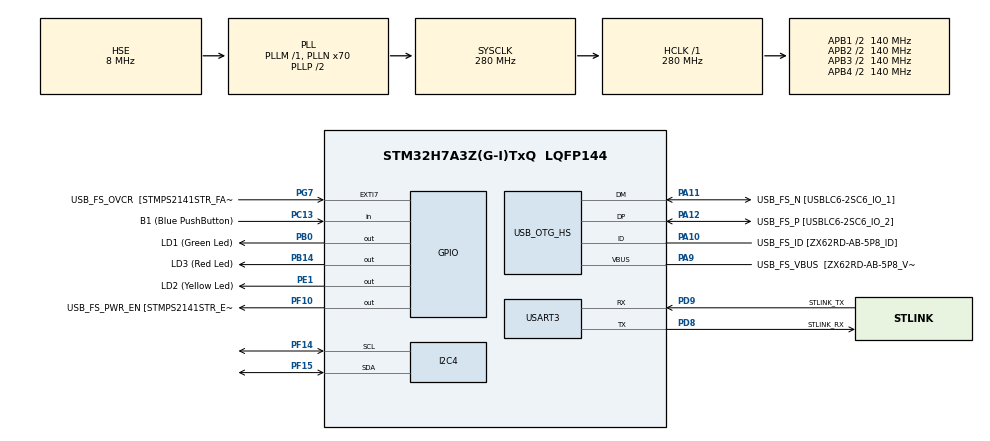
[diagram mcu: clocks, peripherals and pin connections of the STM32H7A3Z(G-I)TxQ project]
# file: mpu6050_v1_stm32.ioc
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I2C4.Timing=0x20B0CCFF
Mcu.Family=STM32H7
Mcu.Name=STM32H7A3Z(G-I)TxQ
Mcu.Package=LQFP144
NVIC.I2C4_ER_IRQn=true\:0\:0\:false\:false\:true\:true\:true\:true
NVIC.I2C4_EV_IRQn=true\:0\:0\:false\:false\:true\:true\:true\:true
NVIC.PriorityGroup=NVIC_PRIORITYGROUP_4
NVIC.USART3_IRQn=true\:0\:0\:false\:false\:true\:true\:true\:true
PA10.GPIO_Label=USB_FS_ID [ZX62RD-AB-5P8_ID]
PA10.Mode=OTG/Dual-Role-Device-FS
PA10.Signal=USB_OTG_HS_ID
PA11.GPIO_Label=USB_FS_N [USBLC6-2SC6_IO_1]
PA11.Mode=OTG/Dual-Role-Device-FS
PA11.Signal=USB_OTG_HS_DM
PA12.GPIO_Label=USB_FS_P [USBLC6-2SC6_IO_2]
PA12.Mode=OTG/Dual-Role-Device-FS
PA12.Signal=USB_OTG_HS_DP
PA9.GPIO_Label=USB_FS_VBUS  [ZX62RD-AB-5P8_VBUS]
PA9.Mode=Activate_VBUS_FS
PA9.Signal=USB_OTG_HS_VBUS
PB0.GPIO_Label=LD1 (Green Led)
PB0.Signal=GPIO_Output
PB14.GPIO_Label=LD3 (Red Led)
PB14.Signal=GPIO_Output
PC13.GPIO_Label=B1 (Blue PushButton)
PC13.Signal=GPIO_Input
PC14-OSC32_IN.GPIO_Label=OSC32_IN
PC14-OSC32_IN.Mode=LSE-External-Oscillator
PC14-OSC32_IN.Signal=RCC_OSC32_IN
PC15-OSC32_OUT.GPIO_Label=OSC32_OUT
PC15-OSC32_OUT.Mode=LSE-External-Oscillator
PC15-OSC32_OUT.Signal=RCC_OSC32_OUT
PD8.GPIO_Label=STLINK_RX
PD8.Mode=Asynchronous
PD8.Signal=USART3_TX
PD9.GPIO_Label=STLINK_TX
PD9.Mode=Asynchronous
PD9.Signal=USART3_RX
PE1.GPIO_Label=LD2 (Yellow Led)
PE1.Signal=GPIO_Output
PF10.GPIO_Label=USB_FS_PWR_EN [STMPS2141STR_EN]
PF10.Signal=GPIO_Output
PF14.Mode=I2C
PF14.Signal=I2C4_SCL
PF15.Mode=I2C
PF15.Signal=I2C4_SDA
PG7.GPIO_Label=USB_FS_OVCR  [STMPS2141STR_FAULT]
PG7.Signal=GPXTI7
PH0-OSC_IN.GPIO_Label=PH0-MCU
PH0-OSC_IN.Mode=HSE-External-Clock-Source
PH0-OSC_IN.Signal=RCC_OSC_IN
PH1-OSC_OUT.GPIO_Label=PH1-MCU
PH1-OSC_OUT.Signal=RCC_OSC_OUT
ProjectManager.HeapSize=0x200
ProjectManager.StackSize=0x400
ProjectManager.TargetToolchain=STM32CubeIDE
RCC.ADCFreq_Value=16125000
RCC.APB1Freq_Value=140000000
RCC.APB2Freq_Value=140000000
RCC.APB3Freq_Value=140000000
RCC.APB4Freq_Value=140000000
RCC.CDPPRE=RCC_APB3_DIV2
RCC.CDPPRE1=RCC_APB1_DIV2
RCC.CDPPRE2=RCC_APB2_DIV2
RCC.CortexFreq_Value=280000000
RCC.DIVM1=1
RCC.DIVM3=1
RCC.DIVN1=70
RCC.DIVN3=24
RCC.DIVQ1=4
RCC.HCLKFreq_Value=280000000
RCC.HSE_VALUE=8000000
RCC.PLLFRACN=0
RCC.PLLSourceVirtual=RCC_PLLSOURCE_HSE
RCC.PWR_Regulator_Voltage_Scale=PWR_REGULATOR_VOLTAGE_SCALE0
RCC.SRDPPRE=RCC_APB4_DIV2
RCC.SYSCLKFreq_VALUE=280000000
RCC.SYSCLKSource=RCC_SYSCLKSOURCE_PLLCLK
RCC.SupplySource=PWR_DIRECT_SMPS_SUPPLY
RCC.USBCLockSelection=RCC_USBCLKSOURCE_HSI48
RCC.USBFreq_Value=48000000
USART3.VirtualMode-Asynchronous=VM_ASYNC
board=NUCLEO-H7A3ZI-Q

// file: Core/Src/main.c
/* USER CODE BEGIN Header */
/**
  ******************************************************************************
  * @file           : main.c
  * @brief          : Main program body
  ******************************************************************************
  * @attention
  *
  * Copyright (c) 2023 STMicroelectronics.
  * All rights reserved.
  *
  * This software is licensed under terms that can be found in the LICENSE file
  * in the root directory of this software component.
  * If no LICENSE file comes with this software, it is provided AS-IS.
  *
  ******************************************************************************
  */
/* USER CODE END Header */
#include "main.h"

/* USER CODE BEGIN PD */
#define TIMEOUT_DEFAULT 1000
// #define I2C_MEMADD_SIZE_8BIT 1

// Linear acceleration registers
#define ACCEL_XOUT_H 0x3B
#define ACCEL_XOUT_L 0x3C
#define ACCEL_YOUT_H 0x3D
#define ACCEL_YOUT_L 0x3E
#define ACCEL_ZOUT_H 0x3F
#define ACCEL_ZOUT_L 0x40

//Angular acceleration registers
#define GYRO_XOUT_H 0x43
#define GYRO_XOUT_L 0x44
#define GYRO_YOUT_H 0x45
#define GYRO_YOUT_L 0x46
#define GYRO_ZOUT_H 0x47
#define GYRO_ZOUT_L 0x48

//Temperature registers
#define TEMP_OUT_H    0x41
#define TEMP_OUT_L    0x42

#define WHO_AM_I		  0x75
#define MPU_ADDR     (0x68 << 1) // Datasheet says 0x68; left shift by 1 due to 7-bit addressing

#define PWR_MGMT_1		0x6B
#define SMPLRT_DIV		0x19 // Sample rate divider. Sample rate = GyroscopeOutputRate/(1 + SMPLRT_DIV)
                    		 // GyroscopeOutputRate = 8kHz if DLPF_CFG = 0 or 7 | 1kHz if DLPF_CFG is 1 to 6
#define CONFIG			  0x1A
#define GYRO_CONFIG		0x1B
#define ACCEL_CONFIG	0x1C
#define INT_ENABLE		0x38
#define DLPF          0x1A

#define FIFO_EN       0x23
#define USER_CTRL     0x6A

#define FIFO_COUNT_H  0x72
#define FIFO_COUNT_L  0x73
#define FIFO_R_W      0x74

#define FIFO_BRST_LEN 0x06
/* USER CODE END PD */

I2C_HandleTypeDef hi2c4;

UART_HandleTypeDef huart3;

/* USER CODE BEGIN PV */
// Define any structs here:

typedef enum {
  GYRO_FSR_250  = 0,
  GYRO_FSR_500  = 1,
  GYRO_FSR_1000 = 2,
  GYRO_FSR_2000 = 3
} Gyro_FSR_SEL_TypeDef;

typedef enum {
  ACCEL_FSR_2g  = 0,
  ACCEL_FSR_4g  = 1,
  ACCEL_FSR_8g  = 2,
  ACCEL_FSR_16g = 3
} Accel_FSR_SEL_TypeDef;

typedef struct MPU6050 {
  // Info used for I2C communication
  I2C_HandleTypeDef* i2c_handle;
  uint8_t MPU6050_addr;

  // Configuration information
  uint8_t gyro_smplrt; // 8kHz or 1kHz dependi ng on DLPF_CFG
  uint8_t dlpf;
  Gyro_FSR_SEL_TypeDef gyro_FSR; // Explicit number of the FSR (eg: 250 deg/s)
  Accel_FSR_SEL_TypeDef accel_FSR; // Just the coefficient (eg: accel_FSR = 2 means 2g = 2 x 9.8)

  // Actual data stored away
  float ax, ay, az; // 16 bit integer
  float gx, gy, gz; // 16 bit integer with 3 entries for x, y and z rotational velocities
  float temp; // 16 bit integer
} MPU6050;

/* USER CODE END PV */

void SystemClock_Config(void);
static void MX_GPIO_Init(void);
static void MX_USART3_UART_Init(void);
static void MX_I2C4_Init(void);
static void MX_USB_OTG_HS_USB_Init(void);

/* USER CODE BEGIN 0 */

HAL_StatusTypeDef MPU6050_readRegister(MPU6050* mpu6050, uint8_t reg, uint8_t* data) {
  /*
  Reads 1 byte from the specified register using I2C configuration from the MPU6050 instance
  Info is stored away into the data array
  */
  // HAL_StatusTypeDef result = HAL_I2C_Mem_Read_DMA(mpu6050->i2c_handle, mpu6050->MPU6050_addr, reg, I2C_MEMADD_SIZE_8BIT, data, (uint16_t) 1);
  // HAL_StatusTypeDef result = HAL_I2C_Mem_Read_IT(mpu6050->i2c_handle, mpu6050->MPU6050_addr, reg, I2C_MEMADD_SIZE_8BIT, data, (uint16_t) 1);
  HAL_StatusTypeDef result = HAL_I2C_Mem_Read(mpu6050->i2c_handle, mpu6050->MPU6050_addr, reg, I2C_MEMADD_SIZE_8BIT, data, (uint16_t) 1, HAL_MAX_DELAY);
  return result;
}

HAL_StatusTypeDef MPU6050_writeRegister(MPU6050* mpu6050, uint8_t reg, uint8_t* data) {
  /*
  Writes 1 byte from the data array into the specified register reg using I2C configuration from the MPU6050 instance
  */
  // HAL_StatusTypeDef result = HAL_I2C_Mem_Write_DMA(mpu6050->i2c_handle, mpu6050->MPU6050_addr, reg, I2C_MEMADD_SIZE_8BIT, data, (uint16_t) 1);
  // HAL_StatusTypeDef result = HAL_I2C_Mem_Write_IT(mpu6050->i2c_handle, mpu6050->MPU6050_addr, reg, I2C_MEMADD_SIZE_8BIT, data, (uint16_t) 1);
  HAL_StatusTypeDef result = HAL_I2C_Mem_Write(mpu6050->i2c_handle, mpu6050->MPU6050_addr, reg, I2C_MEMADD_SIZE_8BIT, data, (uint16_t) 1, HAL_MAX_DELAY);
  return HAL_OK;
}

HAL_StatusTypeDef MPU6050_readRegisters(MPU6050* mpu6050, uint8_t reg, uint8_t* data, uint8_t length) {
  /*
  Reads 1 byte from the specified register using I2C configuration from the MPU6050 instance
  Info is stored away into the data array
  */
  // NOTE: Length is the number of bytes we wanna read from the register -> 1 means read that register. 2 would mean reading this register then the next one
  // HAL_StatusTypeDef result = HAL_I2C_Mem_Read_DMA(mpu6050->i2c_handle, mpu6050->MPU6050_addr, reg, I2C_MEMADD_SIZE_8BIT, data, (uint16_t) length);
  // HAL_StatusTypeDef result = HAL_I2C_Mem_Read_IT(mpu6050->i2c_handle, mpu6050->MPU6050_addr, reg, I2C_MEMADD_SIZE_8BIT, data, (uint16_t) length);
  HAL_StatusTypeDef result = HAL_I2C_Mem_Read(mpu6050->i2c_handle, mpu6050->MPU6050_addr, reg, I2C_MEMADD_SIZE_8BIT, data, (uint16_t) length, HAL_MAX_DELAY);
  return HAL_OK;
}

HAL_StatusTypeDef MPU6050_wakeup(MPU6050* mpu6050) {
  // Write 0's to the PWR_MGMT_1 register to wake it up
  // It sets clock source as internal 8MHz clock, and it is woken up
  // uint8_t zero = 0;
  // HAL_StatusTypeDef res = HAL_I2C_Mem_Write(&hi2c4, MPU_ADDR, PWR_MGMT_1, I2C_MEMADD_SIZE_8BIT, &zero, sizeof(zero), TIMEOUT_DEFAULT);

  HAL_StatusTypeDef res = MPU6050_writeRegister(mpu6050, PWR_MGMT_1, 0);
  return res;
}

HAL_StatusTypeDef MPU6050_set_pwr_mgmt(MPU6050* mpu6050, int dev_rst, int sleep, int cycle, int temp_dis, int clksel) {
  // Assumption is that the first 4 inputs are 1 bit (0 or 1), and clksel is 3 bit (0 to 7)
  assert(dev_rst >= 0 && dev_rst <= 1);
  assert(sleep >= 0 && sleep <= 1);
  assert(cycle >= 0 && cycle <= 1);
  assert(temp_dis >= 0 && temp_dis <= 1);
  assert(clksel >= 0 && clksel <= 7);

  // Create bit string to put into the register
  uint8_t res =  0 | (dev_rst << 7) | (sleep << 6) | (cycle << 5) | (temp_dis << 3) | clksel;

  // Write to the register over I2C
  // HAL_StatusTypeDef result = HAL_I2C_Mem_Write(&hi2c4, MPU_ADDR, PWR_MGMT_1, I2C_MEMADD_SIZE_8BIT, &res, sizeof(res), TIMEOUT_DEFAULT);
  HAL_StatusTypeDef result = MPU6050_writeRegister(mpu6050, PWR_MGMT_1, &res);

  return result;
}

HAL_StatusTypeDef MPU6050_set_dlpf(uint8_t* dlpf, MPU6050* mpu6050) {
  /*
  Just set DLPF_CFG = 001 (so register )
  */

  // Ensure that dlpf is a number between 0 and 7
  assert((*dlpf >= 0) && (*dlpf <= 7));
  // assert(*dlpf >= 0);
  // assert(*dlpf <= 7);

  // HAL_StatusTypeDef result = HAL_I2C_Mem_Write(&hi2c4, MPU_ADDR, DLPF, I2C_MEMADD_SIZE_8BIT, dlpf, sizeof(*dlpf), TIMEOUT_DEFAULT);
  HAL_StatusTypeDef result = MPU6050_writeRegister(mpu6050, PWR_MGMT_1, dlpf);

  // Store the dlpf number in the struct
  mpu6050->dlpf = *dlpf;
  return result;
}

// REVIEW - Maths behind the smplrt_div_input may not be good due to division.
HAL_StatusTypeDef MPU6050_set_sample_rate(uint8_t* freq_ptr, MPU6050* mpu6050) {
  /*
  When DLPF_CFG = 0 or 7, gyro output rate = 8kHz
    otherwise, gyro output rate = 1kHz

   Accelerometer sample rate is fixed at 1kHz always

  freq_ptr is a pointer to the sample rate freq in kHz as uint8

  We need to calculate what needs to go into the SMPLRT_DIV register to get the desired frequency
  This also assumes that the gyro output rate is at 1kHz
  */

  uint8_t smplrt_div_input = (mpu6050->gyro_smplrt)/(*freq_ptr) - 1;

  // HAL_StatusTypeDef result = HAL_I2C_Mem_Write(&hi2c4, MPU_ADDR, SMPLRT_DIV, I2C_MEMADD_SIZE_8BIT, &smplrt_div_input, sizeof(smplrt_div_input), TIMEOUT_DEFAULT);
  HAL_StatusTypeDef result = MPU6050_writeRegister(mpu6050, SMPLRT_DIV, &smplrt_div_input);

  // Store the new sample rate divider in the struct
  mpu6050->gyro_smplrt = *freq_ptr;
  return result;
}

// REVIEW - Consider writing it so that we pull the current data in the register, AND it with 1110 0111, then OR it with (number << 3) so that we keep self-test
HAL_StatusTypeDef MPU6050_set_gyro_FSR(Gyro_FSR_SEL_TypeDef setting, MPU6050* mpu6050) {
  uint8_t pData;

  switch (setting) {
    // For each possibility, set the correct data to be written and store the setting away
    // Left shift data bits by 3 so that we only overwrite bits 4 and 3
    case GYRO_FSR_250:
      pData = (0 << 3);
      mpu6050->gyro_FSR = GYRO_FSR_250;
      break;
    case GYRO_FSR_500:
      pData = (1 << 3);
      mpu6050->gyro_FSR = GYRO_FSR_500;
      break;
    case GYRO_FSR_1000:
      pData = (2 << 3);
      mpu6050->gyro_FSR = GYRO_FSR_1000;
      break;
    case GYRO_FSR_2000:
      pData = (3 << 3);
      mpu6050->gyro_FSR = GYRO_FSR_2000;
      break;
  }

  // HAL_StatusTypeDef result = HAL_I2C_Mem_Write(&hi2c4, MPU_ADDR, GYRO_CONFIG, I2C_MEMADD_SIZE_8BIT, &pData, sizeof(pData), TIMEOUT_DEFAULT);
  HAL_StatusTypeDef result = MPU6050_writeRegister(mpu6050, GYRO_CONFIG, &pData);

  return result;
}

// REVIEW - Consider writing it so that we pull the current data in the register, AND it with 1110 0111, then OR it with (number << 3) so that we keep self-test
HAL_StatusTypeDef MPU6050_set_accel_FSR(Accel_FSR_SEL_TypeDef setting, MPU6050* mpu6050) {
  uint8_t pData;

  switch (setting) {
    case ACCEL_FSR_2g:
      pData = (0 << 3);
      mpu6050->accel_FSR = ACCEL_FSR_2g;
      break;
    case ACCEL_FSR_4g:
      pData = (1 << 3);
      mpu6050->accel_FSR = ACCEL_FSR_4g;
      break;
    case ACCEL_FSR_8g:
      pData = (2 << 3);
      mpu6050->accel_FSR = ACCEL_FSR_8g;
      break;
    case ACCEL_FSR_16g:
      pData = (3 << 3);
      mpu6050->accel_FSR = ACCEL_FSR_16g;
      break;
  }

  // HAL_StatusTypeDef result = HAL_I2C_Mem_Write(&hi2c4, MPU_ADDR, ACCEL_CONFIG, I2C_MEMADD_SIZE_8BIT, &pData, sizeof(pData), TIMEOUT_DEFAULT);
  HAL_StatusTypeDef result = MPU6050_writeRegister(mpu6050, ACCEL_CONFIG, &pData);

  return result;
}

HAL_StatusTypeDef MPU6050_FIFO_enable(MPU6050* mpu6050) {
  // Write a 1 to bit 6 of register 0x6A
  uint8_t res = (1 << 6);

  // HAL_StatusTypeDef result = HAL_I2C_Mem_Write(&hi2c4, MPU_ADDR, USER_CTRL, I2C_MEMADD_SIZE_8BIT, &res, sizeof(res), TIMEOUT_DEFAULT);
  HAL_StatusTypeDef result = MPU6050_writeRegister(mpu6050, USER_CTRL, &res);
  return result;
}

HAL_StatusTypeDef MPU6050_FIFO_reset(MPU6050* mpu6050) {
  // Assumes that MPU6050 FIFO buffer is enabled. FIFO enable bit is driven low ONLY when MPU is power cycled (turned off and back on)
  // Write a 2 to bit 2 of register 0x6A -> this gets written to 0 once FIFO is reset anyway
  uint8_t res = (1 << 2);

  // HAL_StatusTypeDef result = HAL_I2C_Mem_Write(&hi2c4, MPU_ADDR, USER_CTRL, I2C_MEMADD_SIZE_8BIT, &res, sizeof(res), TIMEOUT_DEFAULT);
  HAL_StatusTypeDef result = MPU6050_writeRegister(mpu6050, USER_CTRL, &res);

  return result;
}

HAL_StatusTypeDef MPU6050_init(MPU6050* mpu6050_ptr, uint8_t* dlpf, uint8_t* smpl_frq, Gyro_FSR_SEL_TypeDef gyro_setting, Accel_FSR_SEL_TypeDef accel_setting) {
  // Check that we have the correct device by checking its address
  uint8_t check = 0;
  // uint8_t check[4];
  // HAL_StatusTypeDef result = HAL_I2C_Mem_Write(&hi2c4, MPU_ADDR, WHO_AM_I, I2C_MEMADD_SIZE_8BIT, &check, sizeof(check), TIMEOUT_DEFAULT);
  // HAL_StatusTypeDef result = HAL_I2C_Mem_Read(&hi2c4, MPU_ADDR, WHO_AM_I, I2C_MEMADD_SIZE_8BIT, &check, sizeof(check), TIMEOUT_DEFAULT);
  HAL_StatusTypeDef result = MPU6050_readRegister(mpu6050_ptr, WHO_AM_I, &check);
  // HAL_StatusTypeDef result = HAL_I2C_Mem_Read(&hi2c4, MPU_ADDR, WHO_AM_I, 1, check, 1, 1000);

  if (result == HAL_OK && check == 0x68) { //check == 0x68
    // Device is identified as the MPU6050 yay -> Wake it up
    MPU6050_wakeup(mpu6050_ptr);

    // Configure DLPF_CFG and store away settings
    MPU6050_set_dlpf(dlpf, mpu6050_ptr);

    // Configure the gyro sample rate and store away settings
    MPU6050_set_sample_rate(smpl_frq, mpu6050_ptr);

    // Set the full scale range for the gyroscope and accelerometer
    MPU6050_set_gyro_FSR(gyro_setting, mpu6050_ptr);
    MPU6050_set_accel_FSR(accel_setting, mpu6050_ptr);
  }

  return result;
}

HAL_StatusTypeDef MPU6050_read_gyro_reg(MPU6050* mpu6050) {
  // Initialise temporary variables
  int16_t gx_raw = 0;
  int16_t gy_raw = 0;
  int16_t gz_raw = 0;

  uint8_t num_of_bytes = 6;
  int8_t g_raw[num_of_bytes];

  // Read X gyro registers and store the raw gyroscope value away
  // HAL_StatusTypeDef result = HAL_I2C_Mem_Read(&hi2c4, MPU_ADDR, GYRO_XOUT_H, I2C_MEMADD_SIZE_8BIT, &g_raw_H, sizeof(g_raw_H), TIMEOUT_DEFAULT);

  // Read all gyroscope registers starting from GYRO_XOUT_H and ending at GYRO_ZOUT_L
  HAL_StatusTypeDef result = MPU6050_readRegisters(mpu6050, GYRO_XOUT_H, g_raw, num_of_bytes);

  // Get the raw x, y and z values
  gx_raw = (g_raw[0] << 8) | (g_raw[1]);
  gy_raw = (g_raw[2] << 8) | (g_raw[3]);
  gz_raw = (g_raw[4] << 8) | (g_raw[5]);

  // result = HAL_I2C_Mem_Read(&hi2c4, MPU_ADDR, GYRO_XOUT_L, I2C_MEMADD_SIZE_8BIT, &g_raw_L, sizeof(g_raw_L), TIMEOUT_DEFAULT);
  // gx_raw = (g_raw[0] << 8) | (g_raw[1]);

  // Read Y gyro registers and store the raw gyroscope value away
  // result = HAL_I2C_Mem_Read(&hi2c4, MPU_ADDR, GYRO_YOUT_H, I2C_MEMADD_SIZE_8BIT, &g_raw_H, sizeof(g_raw_H), TIMEOUT_DEFAULT);
  // result = HAL_I2C_Mem_Read(&hi2c4, MPU_ADDR, GYRO_YOUT_L, I2C_MEMADD_SIZE_8BIT, &g_raw_L, sizeof(g_raw_L), TIMEOUT_DEFAULT);
  // gy_raw = (g_raw[2] << 8) | (g_raw[3]);

  // Read Z gyro registers and store the raw gyroscope value away
  // result = HAL_I2C_Mem_Read(&hi2c4, MPU_ADDR, GYRO_ZOUT_H, I2C_MEMADD_SIZE_8BIT, &g_raw_H, sizeof(g_raw_H), TIMEOUT_DEFAULT);
  // result = HAL_I2C_Mem_Read(&hi2c4, MPU_ADDR, GYRO_ZOUT_L, I2C_MEMADD_SIZE_8BIT, &g_raw_L, sizeof(g_raw_L), TIMEOUT_DEFAULT);
  // gz_raw = (g_raw[4] << 8) | (g_raw[5]);

  // Rescale raw readings according to gyro FSR
  switch(mpu6050->gyro_FSR) {
    case GYRO_FSR_250:
      mpu6050->gx = ((float) gx_raw) / 131.0;
      mpu6050->gy = ((float) gy_raw) / 131.0;
      mpu6050->gz = ((float) gz_raw) / 131.0;
      break;
    case GYRO_FSR_500:
      mpu6050->gx = ((float) gx_raw) / 65.5;
      mpu6050->gy = ((float) gy_raw) / 65.5;
      mpu6050->gz = ((float) gz_raw) / 65.5;
      break;
    case GYRO_FSR_1000:
      mpu6050->gx = ((float) gx_raw) / 32.8;
      mpu6050->gy = ((float) gy_raw) / 32.8;
      mpu6050->gz = ((float) gz_raw) / 32.8;
      break;
    case GYRO_FSR_2000:
      mpu6050->gx = ((float) gx_raw) / 16.4;
      mpu6050->gy = ((float) gy_raw) / 16.4;
      mpu6050->gz = ((float) gz_raw) / 16.4;
      break;
  }

  return result;
}

HAL_StatusTypeDef MPU6050_read_accel_reg(MPU6050* mpu6050) {
  // Initialise temporary variables
  int16_t ax_raw = 0;
  int16_t ay_raw = 0;
  int16_t az_raw = 0;

  uint8_t num_of_bytes = 6;
  int8_t a_raw[num_of_bytes];

  // Read all gyroscope registers starting from GYRO_XOUT_H and ending at GYRO_ZOUT_L
  HAL_StatusTypeDef result = MPU6050_readRegisters(mpu6050, ACCEL_XOUT_H, a_raw, num_of_bytes);

  // Get the raw x, y and z values
  ax_raw = (a_raw[0] << 8) | (a_raw[1]);
  ay_raw = (a_raw[2] << 8) | (a_raw[3]);
  az_raw = (a_raw[4] << 8) | (a_raw[5]);

  // // Read X accel registers and store the raw acceleration value away
  // HAL_StatusTypeDef result = HAL_I2C_Mem_Read(&hi2c4, MPU_ADDR, ACCEL_XOUT_H, I2C_MEMADD_SIZE_8BIT, &a_raw_H, sizeof(a_raw_H), TIMEOUT_DEFAULT);
  // result = HAL_I2C_Mem_Read(&hi2c4, MPU_ADDR, ACCEL_XOUT_L, I2C_MEMADD_SIZE_8BIT, &a_raw_L, sizeof(a_raw_L), TIMEOUT_DEFAULT);
  // ax_raw = (a_raw_H << 8) | (a_raw_L);

  // // Read Y accel registers and store the raw acceleration value away
  // result = HAL_I2C_Mem_Read(&hi2c4, MPU_ADDR, ACCEL_YOUT_H, I2C_MEMADD_SIZE_8BIT, &a_raw_H, sizeof(a_raw_H), TIMEOUT_DEFAULT);
  // result = HAL_I2C_Mem_Read(&hi2c4, MPU_ADDR, ACCEL_YOUT_L, I2C_MEMADD_SIZE_8BIT, &a_raw_L, sizeof(a_raw_L), TIMEOUT_DEFAULT);
  // ay_raw = (a_raw_H << 8) | (a_raw_L);

  // // Read Z accel registers and store the raw acceleration value away
  // result = HAL_I2C_Mem_Read(&hi2c4, MPU_ADDR, ACCEL_ZOUT_H, I2C_MEMADD_SIZE_8BIT, &a_raw_H, sizeof(a_raw_H), TIMEOUT_DEFAULT);
  // result = HAL_I2C_Mem_Read(&hi2c4, MPU_ADDR, ACCEL_ZOUT_L, I2C_MEMADD_SIZE_8BIT, &a_raw_L, sizeof(a_raw_L), TIMEOUT_DEFAULT);
  // az_raw = (a_raw_H << 8) | (a_raw_L);

  // Rescale them according to accel FSR
  switch(mpu6050->accel_FSR) {
    case ACCEL_FSR_2g:
      mpu6050->ax = ((float) ax_raw) / 16384.0 * 9.8;
      mpu6050->ay = ((float) ay_raw) / 16384.0 * 9.8;
      mpu6050->az = ((float) az_raw) / 16384.0 * 9.8;
      break;
    case ACCEL_FSR_4g:
      mpu6050->ax = ((float) ax_raw) / 8192.0 * 9.8;
      mpu6050->ay = ((float) ay_raw) / 8192.0 * 9.8;
      mpu6050->az = ((float) az_raw) / 8192.0 * 9.8;
      break;
    case ACCEL_FSR_8g:
      mpu6050->ax = ((float) ax_raw) / 4096.0 * 9.8;
      mpu6050->ay = ((float) ay_raw) / 4096.0 * 9.8;
      mpu6050->az = ((float) az_raw) / 4096.0 * 9.8;
      break;
    case ACCEL_FSR_16g:
      mpu6050->ax = ((float) ax_raw) / 2048.0 * 9.8;
      mpu6050->ay = ((float) ay_raw) / 2048.0 * 9.8;
      mpu6050->az = ((float) az_raw) / 2048.0 * 9.8;
      break;
  }

  return result;
}

HAL_StatusTypeDef MPU6050_read_temp_reg(MPU6050* mpu6050) {
  int16_t raw_temp = 0;

  uint8_t num_of_bytes = 2;
  int8_t temp[2];

  HAL_StatusTypeDef result = MPU6050_readRegisters(mpu6050, TEMP_OUT_H, temp, num_of_bytes);
  raw_temp = (temp[0] << 8) | (temp[1]);

  // HAL_StatusTypeDef result = HAL_I2C_Mem_Read(&hi2c4, MPU_ADDR, TEMP_OUT_H, I2C_MEMADD_SIZE_8BIT, &temp_H, sizeof(temp_H), TIMEOUT_DEFAULT);
  // result = HAL_I2C_Mem_Read(&hi2c4, MPU_ADDR, TEMP_OUT_L, I2C_MEMADD_SIZE_8BIT, &temp_L, sizeof(temp_L), TIMEOUT_DEFAULT);
  // raw_temp = (temp_H << 8) | (temp_L);

  // Fix the readings to be in celsius
  mpu6050->temp = ((float) raw_temp)/340.0 + 36.53;

  return HAL_OK;
}

/* USER CODE END 0 */

int main(void)
{

  /* MCU Configuration--------------------------------------------------------*/

  /* Reset of all peripherals, Initializes the Flash interface and the Systick. */
  HAL_Init();

  /* Configure the system clock */
  SystemClock_Config();

  /* Initialize all configured peripherals */
  MX_GPIO_Init();
  MX_USART3_UART_Init();
  MX_I2C4_Init();
  MX_USB_OTG_HS_USB_Init();
  /* USER CODE BEGIN 2 */

  // Run the MPU init
/*
  // Info used for I2C communication
  I2C_HandleTypeDef* i2c_handle;
  uint8_t MPU6050_addr;

  // Configuration information
  uint8_t gyro_smplrt; // 8kHz or 1kHz dependi ng on DLPF_CFG
  uint8_t dlpf;
  Gyro_FSR_SEL_TypeDef gyro_FSR; // Explicit number of the FSR (eg: 250 deg/s)
  Accel_FSR_SEL_TypeDef accel_FSR; // Just the coefficient (eg: accel_FSR = 2 means 2g = 2 x 9.8)

  // Actual data stored away
  float ax, ay, az; // 16 bit integer
  float gx, gy, gz; // 16 bit integer with 3 entries for x, y and z rotational velocities
  float temp; // 16 bit integer
*/

  MPU6050 mpu6050 = {
    .i2c_handle = &hi2c4,
    .MPU6050_addr = MPU_ADDR,
    .gyro_smplrt = 0,
    .dlpf = 0,
    .gyro_FSR = 0,
    .accel_FSR = 0,
    .ax = 0,
    .ay = 0,
    .az = 0,
    .gx = 0,
    .gy = 0,
    .gz = 0,
    .temp = 0,
  };

  // Wake up the MPU6050 as well
  MPU6050_wakeup(&mpu6050);

  // Initialise the MPU6050
  uint8_t dlpf = 1;
  uint8_t smplfrq = 1;
  MPU6050_init(&mpu6050, &dlpf, &smplfrq, GYRO_FSR_250, ACCEL_FSR_2g);
  MPU6050_set_pwr_mgmt(&mpu6050, 0, 0, 0, 0, 1);

  // Enable the FIFO buffer
  MPU6050_FIFO_enable(&mpu6050);
  // Reset it as well so that it can be burst read or something -> https://stackoverflow.com/questions/60419390/mpu-6050-correctly-reading-data-from-the-fifo-register
  MPU6050_FIFO_reset(&mpu6050);
  MPU6050_FIFO_enable(&mpu6050);

  // float gyro_buff[3] = {1.0, 2.0, 3.0};
  // float accel_buff[3] = {4.0, 5.0, 6.0};
  // float temp_buff = 7.0;

  /* USER CODE END 2 */

  /* Infinite loop */
  while (1)
  {

    /* USER CODE BEGIN 3 */
    // Read data
    // MPU6050_read_gyro_fifo(&mpu6050);
    // HAL_Delay(100); // Delays in between just for timing??
    // MPU6050_read_accel_fifo(&mpu6050);
    // HAL_Delay(100); // Delays in between just for timing??
    // MPU6050_read_temp_fifo(&mpu6050);
    // HAL_Delay(100); // Delays in between just for timing??

    MPU6050_read_gyro_reg(&mpu6050);
    HAL_Delay(100); // Delays in between just for timing??
    MPU6050_read_accel_reg(&mpu6050);
    HAL_Delay(100); // Delays in between just for timing??
    MPU6050_read_temp_reg(&mpu6050);
    HAL_Delay(100); // Delays in between just for timing??

    // Stuff below here for printing to serial
    // MPU6050_print_readings_UART(&mpu6050, &huart3);

//    gyro_buff[0] = mpu6050.gx;
//    gyro_buff[1] = mpu6050.gy;
//    gyro_buff[2] = mpu6050.gz;
//
//    accel_buff[0] = mpu6050.ax;
//    accel_buff[1] = mpu6050.ay;
//    accel_buff[2] = mpu6050.az;
//
//    temp_buff = mpu6050.temp;

    // HAL_UART_Transmit(&huart3, gyro_buff, sizeof(gyro_buff), TIMEOUT_DEFAULT);
    // HAL_Delay(100); // Delays in between just for timing??
    // HAL_UART_Transmit(&huart3, accel_buff, sizeof(accel_buff), TIMEOUT_DEFAULT);
    // HAL_Delay(100); // Delays in between just for timing??
    // HAL_UART_Transmit(&huart3, &temp_buff, sizeof(temp_buff), TIMEOUT_DEFAULT);
    // HAL_Delay(100); // Delays in between just for timing??

  }
  /* USER CODE END 3 */
}

void SystemClock_Config(void)
{
  RCC_OscInitTypeDef RCC_OscInitStruct = {0};
  RCC_ClkInitTypeDef RCC_ClkInitStruct = {0};

  /*AXI clock gating */
  RCC->CKGAENR = 0xFFFFFFFF;

  /** Supply configuration update enable
  */
  HAL_PWREx_ConfigSupply(PWR_DIRECT_SMPS_SUPPLY);

  /** Configure the main internal regulator output voltage
  */
  __HAL_PWR_VOLTAGESCALING_CONFIG(PWR_REGULATOR_VOLTAGE_SCALE0);

  while(!__HAL_PWR_GET_FLAG(PWR_FLAG_VOSRDY)) {}

  /** Initializes the RCC Oscillators according to the specified parameters
  * in the RCC_OscInitTypeDef structure.
  */
  RCC_OscInitStruct.OscillatorType = RCC_OSCILLATORTYPE_HSI48|RCC_OSCILLATORTYPE_HSE;
  RCC_OscInitStruct.HSEState = RCC_HSE_BYPASS;
  RCC_OscInitStruct.HSI48State = RCC_HSI48_ON;
  RCC_OscInitStruct.PLL.PLLState = RCC_PLL_ON;
  RCC_OscInitStruct.PLL.PLLSource = RCC_PLLSOURCE_HSE;
  RCC_OscInitStruct.PLL.PLLM = 1;
  RCC_OscInitStruct.PLL.PLLN = 70;
  RCC_OscInitStruct.PLL.PLLP = 2;
  RCC_OscInitStruct.PLL.PLLQ = 4;
  RCC_OscInitStruct.PLL.PLLR = 2;
  RCC_OscInitStruct.PLL.PLLRGE = RCC_PLL1VCIRANGE_3;
  RCC_OscInitStruct.PLL.PLLVCOSEL = RCC_PLL1VCOWIDE;
  RCC_OscInitStruct.PLL.PLLFRACN = 0;
  if (HAL_RCC_OscConfig(&RCC_OscInitStruct) != HAL_OK)
  {
    Error_Handler();
  }

  /** Initializes the CPU, AHB and APB buses clocks
  */
  RCC_ClkInitStruct.ClockType = RCC_CLOCKTYPE_HCLK|RCC_CLOCKTYPE_SYSCLK
                              |RCC_CLOCKTYPE_PCLK1|RCC_CLOCKTYPE_PCLK2
                              |RCC_CLOCKTYPE_D3PCLK1|RCC_CLOCKTYPE_D1PCLK1;
  RCC_ClkInitStruct.SYSCLKSource = RCC_SYSCLKSOURCE_PLLCLK;
  RCC_ClkInitStruct.SYSCLKDivider = RCC_SYSCLK_DIV1;
  RCC_ClkInitStruct.AHBCLKDivider = RCC_HCLK_DIV1;
  RCC_ClkInitStruct.APB3CLKDivider = RCC_APB3_DIV2;
  RCC_ClkInitStruct.APB1CLKDivider = RCC_APB1_DIV2;
  RCC_ClkInitStruct.APB2CLKDivider = RCC_APB2_DIV2;
  RCC_ClkInitStruct.APB4CLKDivider = RCC_APB4_DIV2;

  if (HAL_RCC_ClockConfig(&RCC_ClkInitStruct, FLASH_LATENCY_7) != HAL_OK)
  {
    Error_Handler();
  }
}

static void MX_I2C4_Init(void)
{

  hi2c4.Instance = I2C4;
  hi2c4.Init.Timing = 0x20B0CCFF;
  hi2c4.Init.OwnAddress1 = 0;
  hi2c4.Init.AddressingMode = I2C_ADDRESSINGMODE_7BIT;
  hi2c4.Init.DualAddressMode = I2C_DUALADDRESS_DISABLE;
  hi2c4.Init.OwnAddress2 = 0;
  hi2c4.Init.OwnAddress2Masks = I2C_OA2_NOMASK;
  hi2c4.Init.GeneralCallMode = I2C_GENERALCALL_DISABLE;
  hi2c4.Init.NoStretchMode = I2C_NOSTRETCH_DISABLE;
  if (HAL_I2C_Init(&hi2c4) != HAL_OK)
  {
    Error_Handler();
  }

  /** Configure Analogue filter
  */
  if (HAL_I2CEx_ConfigAnalogFilter(&hi2c4, I2C_ANALOGFILTER_ENABLE) != HAL_OK)
  {
    Error_Handler();
  }

  /** Configure Digital filter
  */
  if (HAL_I2CEx_ConfigDigitalFilter(&hi2c4, 0) != HAL_OK)
  {
    Error_Handler();
  }

}

static void MX_USART3_UART_Init(void)
{

  huart3.Instance = USART3;
  huart3.Init.BaudRate = 115200;
  huart3.Init.WordLength = UART_WORDLENGTH_8B;
  huart3.Init.StopBits = UART_STOPBITS_1;
  huart3.Init.Parity = UART_PARITY_NONE;
  huart3.Init.Mode = UART_MODE_TX_RX;
  huart3.Init.HwFlowCtl = UART_HWCONTROL_NONE;
  huart3.Init.OverSampling = UART_OVERSAMPLING_16;
  huart3.Init.OneBitSampling = UART_ONE_BIT_SAMPLE_DISABLE;
  huart3.Init.ClockPrescaler = UART_PRESCALER_DIV1;
  huart3.AdvancedInit.AdvFeatureInit = UART_ADVFEATURE_NO_INIT;
  if (HAL_UART_Init(&huart3) != HAL_OK)
  {
    Error_Handler();
  }
  if (HAL_UARTEx_SetTxFifoThreshold(&huart3, UART_TXFIFO_THRESHOLD_1_8) != HAL_OK)
  {
    Error_Handler();
  }
  if (HAL_UARTEx_SetRxFifoThreshold(&huart3, UART_RXFIFO_THRESHOLD_1_8) != HAL_OK)
  {
    Error_Handler();
  }
  if (HAL_UARTEx_DisableFifoMode(&huart3) != HAL_OK)
  {
    Error_Handler();
  }

}

static void MX_USB_OTG_HS_USB_Init(void)
{

}

static void MX_GPIO_Init(void)
{
  GPIO_InitTypeDef GPIO_InitStruct = {0};

  /* GPIO Ports Clock Enable */
  __HAL_RCC_GPIOC_CLK_ENABLE();
  __HAL_RCC_GPIOF_CLK_ENABLE();
  __HAL_RCC_GPIOH_CLK_ENABLE();
  __HAL_RCC_GPIOB_CLK_ENABLE();
  __HAL_RCC_GPIOD_CLK_ENABLE();
  __HAL_RCC_GPIOG_CLK_ENABLE();
  __HAL_RCC_GPIOA_CLK_ENABLE();
  __HAL_RCC_GPIOE_CLK_ENABLE();

  /*Configure GPIO pin Output Level */
  HAL_GPIO_WritePin(USB_FS_PWR_EN_GPIO_Port, USB_FS_PWR_EN_Pin, GPIO_PIN_RESET);

  /*Configure GPIO pin Output Level */
  HAL_GPIO_WritePin(GPIOB, LD1_Pin|LD3_Pin, GPIO_PIN_RESET);

  /*Configure GPIO pin Output Level */
  HAL_GPIO_WritePin(LD2_GPIO_Port, LD2_Pin, GPIO_PIN_RESET);

  /*Configure GPIO pin : B1_Pin */
  GPIO_InitStruct.Pin = B1_Pin;
  GPIO_InitStruct.Mode = GPIO_MODE_INPUT;
  GPIO_InitStruct.Pull = GPIO_NOPULL;
  HAL_GPIO_Init(B1_GPIO_Port, &GPIO_InitStruct);

  /*Configure GPIO pin : USB_FS_PWR_EN_Pin */
  GPIO_InitStruct.Pin = USB_FS_PWR_EN_Pin;
  GPIO_InitStruct.Mode = GPIO_MODE_OUTPUT_PP;
  GPIO_InitStruct.Pull = GPIO_NOPULL;
  GPIO_InitStruct.Speed = GPIO_SPEED_FREQ_LOW;
  HAL_GPIO_Init(USB_FS_PWR_EN_GPIO_Port, &GPIO_InitStruct);

  /*Configure GPIO pins : LD1_Pin LD3_Pin */
  GPIO_InitStruct.Pin = LD1_Pin|LD3_Pin;
  GPIO_InitStruct.Mode = GPIO_MODE_OUTPUT_PP;
  GPIO_InitStruct.Pull = GPIO_NOPULL;
  GPIO_InitStruct.Speed = GPIO_SPEED_FREQ_LOW;
  HAL_GPIO_Init(GPIOB, &GPIO_InitStruct);

  /*Configure GPIO pin : USB_FS_OVCR_Pin */
  GPIO_InitStruct.Pin = USB_FS_OVCR_Pin;
  GPIO_InitStruct.Mode = GPIO_MODE_IT_RISING;
  GPIO_InitStruct.Pull = GPIO_NOPULL;
  HAL_GPIO_Init(USB_FS_OVCR_GPIO_Port, &GPIO_InitStruct);

  /*Configure GPIO pin : USB_FS_VBUS_Pin */
  GPIO_InitStruct.Pin = USB_FS_VBUS_Pin;
  GPIO_InitStruct.Mode = GPIO_MODE_INPUT;
  GPIO_InitStruct.Pull = GPIO_NOPULL;
  HAL_GPIO_Init(USB_FS_VBUS_GPIO_Port, &GPIO_InitStruct);

  /*Configure GPIO pin : USB_FS_ID_Pin */
  GPIO_InitStruct.Pin = USB_FS_ID_Pin;
  GPIO_InitStruct.Mode = GPIO_MODE_AF_PP;
  GPIO_InitStruct.Pull = GPIO_NOPULL;
  GPIO_InitStruct.Speed = GPIO_SPEED_FREQ_LOW;
  GPIO_InitStruct.Alternate = GPIO_AF10_OTG1_HS;
  HAL_GPIO_Init(USB_FS_ID_GPIO_Port, &GPIO_InitStruct);

  /*Configure GPIO pins : USB_FS_N_Pin USB_FS_P_Pin */
  GPIO_InitStruct.Pin = USB_FS_N_Pin|USB_FS_P_Pin;
  GPIO_InitStruct.Mode = GPIO_MODE_AF_PP;
  GPIO_InitStruct.Pull = GPIO_NOPULL;
  GPIO_InitStruct.Speed = GPIO_SPEED_FREQ_LOW;
  HAL_GPIO_Init(GPIOA, &GPIO_InitStruct);

  /*Configure GPIO pin : LD2_Pin */
  GPIO_InitStruct.Pin = LD2_Pin;
  GPIO_InitStruct.Mode = GPIO_MODE_OUTPUT_PP;
  GPIO_InitStruct.Pull = GPIO_NOPULL;
  GPIO_InitStruct.Speed = GPIO_SPEED_FREQ_LOW;
  HAL_GPIO_Init(LD2_GPIO_Port, &GPIO_InitStruct);

}

void Error_Handler(void)
{
  __disable_irq();
  while (1)
  {
  }
}
